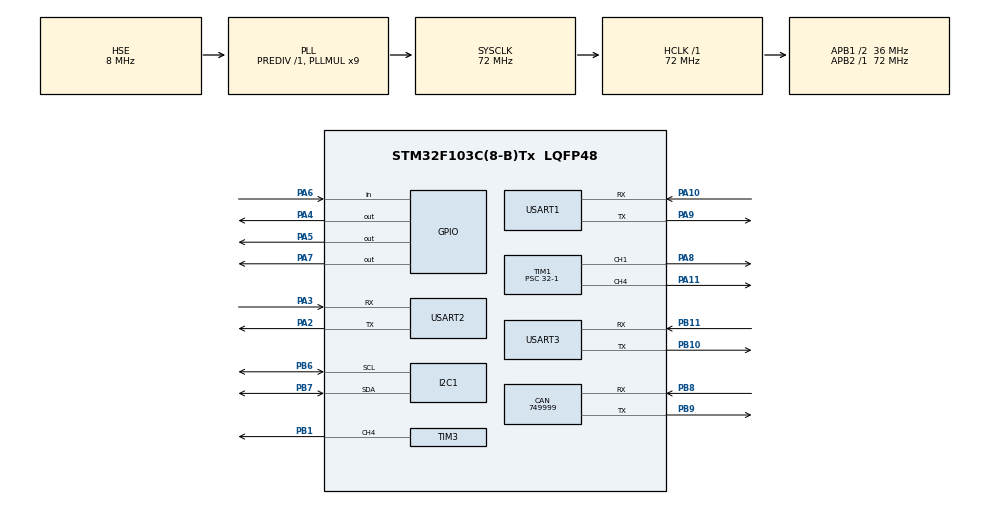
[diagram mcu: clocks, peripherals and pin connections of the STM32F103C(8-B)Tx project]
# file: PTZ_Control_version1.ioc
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CAN.BS1=CAN_BS1_1TQ
CAN.BS2=CAN_BS2_1TQ
CAN.CalculateBaudRate=749999
CAN.CalculateTimeBit=1333
CAN.CalculateTimeQuantum=444.44444444444446
Dma.Request0=USART1_RX
Dma.Request1=USART1_TX
Dma.Request2=USART2_RX
Dma.Request3=USART2_TX
Dma.USART1_RX.0.Direction=DMA_PERIPH_TO_MEMORY
Dma.USART1_RX.0.Instance=DMA1_Channel5
Dma.USART1_RX.0.MemDataAlignment=DMA_MDATAALIGN_BYTE
Dma.USART1_RX.0.MemInc=DMA_MINC_ENABLE
Dma.USART1_RX.0.Mode=DMA_NORMAL
Dma.USART1_RX.0.PeriphDataAlignment=DMA_PDATAALIGN_BYTE
Dma.USART1_RX.0.PeriphInc=DMA_PINC_DISABLE
Dma.USART1_RX.0.Priority=DMA_PRIORITY_LOW
Dma.USART1_TX.1.Direction=DMA_MEMORY_TO_PERIPH
Dma.USART1_TX.1.Instance=DMA1_Channel4
Dma.USART1_TX.1.MemDataAlignment=DMA_MDATAALIGN_BYTE
Dma.USART1_TX.1.MemInc=DMA_MINC_ENABLE
Dma.USART1_TX.1.Mode=DMA_NORMAL
Dma.USART1_TX.1.PeriphDataAlignment=DMA_PDATAALIGN_BYTE
Dma.USART1_TX.1.PeriphInc=DMA_PINC_DISABLE
Dma.USART1_TX.1.Priority=DMA_PRIORITY_LOW
Dma.USART2_RX.2.Direction=DMA_PERIPH_TO_MEMORY
Dma.USART2_RX.2.Instance=DMA1_Channel6
Dma.USART2_RX.2.MemDataAlignment=DMA_MDATAALIGN_BYTE
Dma.USART2_RX.2.MemInc=DMA_MINC_ENABLE
Dma.USART2_RX.2.Mode=DMA_NORMAL
Dma.USART2_RX.2.PeriphDataAlignment=DMA_PDATAALIGN_BYTE
Dma.USART2_RX.2.PeriphInc=DMA_PINC_DISABLE
Dma.USART2_RX.2.Priority=DMA_PRIORITY_LOW
Dma.USART2_TX.3.Direction=DMA_MEMORY_TO_PERIPH
Dma.USART2_TX.3.Instance=DMA1_Channel7
Dma.USART2_TX.3.MemDataAlignment=DMA_MDATAALIGN_BYTE
Dma.USART2_TX.3.MemInc=DMA_MINC_ENABLE
Dma.USART2_TX.3.Mode=DMA_NORMAL
Dma.USART2_TX.3.PeriphDataAlignment=DMA_PDATAALIGN_BYTE
Dma.USART2_TX.3.PeriphInc=DMA_PINC_DISABLE
Dma.USART2_TX.3.Priority=DMA_PRIORITY_LOW
Mcu.Family=STM32F1
Mcu.Name=STM32F103C(8-B)Tx
Mcu.Package=LQFP48
NVIC.DMA1_Channel4_IRQn=true\:0\:0\:false\:false\:true\:false\:true\:true
NVIC.DMA1_Channel5_IRQn=true\:0\:0\:false\:false\:true\:false\:true\:true
NVIC.DMA1_Channel6_IRQn=true\:0\:0\:false\:false\:true\:false\:true\:true
NVIC.DMA1_Channel7_IRQn=true\:0\:0\:false\:false\:true\:false\:true\:true
NVIC.I2C1_ER_IRQn=true\:0\:0\:false\:false\:true\:true\:true\:true
NVIC.I2C1_EV_IRQn=true\:0\:0\:false\:false\:true\:true\:true\:true
NVIC.PriorityGroup=NVIC_PRIORITYGROUP_4
NVIC.USART1_IRQn=true\:0\:0\:false\:false\:true\:true\:true\:true
PA10.Mode=Asynchronous
PA10.Signal=USART1_RX
PA11.Signal=S_TIM1_CH4
PA13.Signal=SYS_JTMS-SWDIO
PA14.Signal=SYS_JTCK-SWCLK
PA2.Mode=Asynchronous
PA2.Signal=USART2_TX
PA3.Mode=Asynchronous
PA3.Signal=USART2_RX
PA4.Signal=GPIO_Output
PA5.Signal=GPIO_Output
PA6.Signal=GPIO_Input
PA7.Signal=GPIO_Output
PA8.Signal=S_TIM1_CH1
PA9.Mode=Asynchronous
PA9.Signal=USART1_TX
PB1.Signal=S_TIM3_CH4
PB10.Mode=Asynchronous
PB10.Signal=USART3_TX
PB11.Mode=Asynchronous
PB11.Signal=USART3_RX
PB6.Mode=I2C
PB6.Signal=I2C1_SCL
PB7.Mode=I2C
PB7.Signal=I2C1_SDA
PB8.Mode=CAN_Activate
PB8.Signal=CAN_RX
PB9.Mode=CAN_Activate
PB9.Signal=CAN_TX
PD0-OSC_IN.Mode=HSE-External-Oscillator
PD0-OSC_IN.Signal=RCC_OSC_IN
PD1-OSC_OUT.Mode=HSE-External-Oscillator
PD1-OSC_OUT.Signal=RCC_OSC_OUT
ProjectManager.HeapSize=0x200
ProjectManager.StackSize=0x400
ProjectManager.TargetToolchain=MDK-ARM V5.32
RCC.AHBFreq_Value=72000000
RCC.APB1CLKDivider=RCC_HCLK_DIV2
RCC.APB1Freq_Value=36000000
RCC.APB1TimFreq_Value=72000000
RCC.APB2Freq_Value=72000000
RCC.APB2TimFreq_Value=72000000
RCC.HCLKFreq_Value=72000000
RCC.PLLMUL=RCC_PLL_MUL9
RCC.PLLSourceVirtual=RCC_PLLSOURCE_HSE
RCC.SYSCLKFreq_VALUE=72000000
RCC.SYSCLKSource=RCC_SYSCLKSOURCE_PLLCLK
RCC.USBFreq_Value=72000000
SH.S_TIM1_CH1.0=TIM1_CH1,PWM Generation1 CH1
SH.S_TIM1_CH4.0=TIM1_CH4,PWM Generation4 CH4
SH.S_TIM3_CH4.0=TIM3_CH4,PWM Generation4 CH4
TIM1.AutoReloadPreload=TIM_AUTORELOAD_PRELOAD_ENABLE
TIM1.Channel-PWM\ Generation1\ CH1=TIM_CHANNEL_1
TIM1.Channel-PWM\ Generation4\ CH4=TIM_CHANNEL_4
TIM1.Period=20000-1
TIM1.Prescaler=32-1
TIM3.AutoReloadPreload=TIM_AUTORELOAD_PRELOAD_DISABLE
TIM3.Channel-PWM\ Generation4\ CH4=TIM_CHANNEL_4
TIM3.Period=500-1
TIM3.Prescaler=72-1
USART1.VirtualMode=VM_ASYNC
USART2.VirtualMode=VM_ASYNC
USART3.VirtualMode=VM_ASYNC
VP_SYS_VS_ND.Mode=No_Debug
VP_TIM1_VS_ClockSourceINT.Mode=Internal
VP_TIM3_VS_ClockSourceINT.Mode=Internal
board=custom

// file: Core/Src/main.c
/* USER CODE BEGIN Header */
/**
  ******************************************************************************
  * @file           : main.c
  * @brief          : Main program body
  ******************************************************************************
  * @attention
  *
  * Copyright (c) 2025 STMicroelectronics.
  * All rights reserved.
  *
  * This software is licensed under terms that can be found in the LICENSE file
  * in the root directory of this software component.
  * If no LICENSE file comes with this software, it is provided AS-IS.
  *
  ******************************************************************************
  */
/* USER CODE END Header */
#include "main.h"
#include "can.h"
#include "dma.h"
#include "i2c.h"
#include "tim.h"
#include "usart.h"
#include "gpio.h"

/* USER CODE BEGIN Includes */
#include "Control.h"
#include "Servo.h"
#include "stdio.h"
#include "string.h"
#include <stdarg.h>
#include "data_processing.h"
#include "pca9685.h"
#include "PS2.h"
#include "beep.h"
#include "Bus_Servo.h"
/* USER CODE END Includes */

/* USER CODE BEGIN PV */
float x=0;
float y=0;
float w=0;
float h=0;

uint8_t usart1_rx_len = 0;
uint8_t usart1_rx_state = USART1_RX_STATE_START;
uint8_t tmp_usart1_rx_buffer[USART1_MAX_RECV_LEN] = {0};
uint8_t g_usart1_rx_buff[USART1_MAX_RECV_LEN] = {0};

uint8_t usart2_rx_len = 0;
uint8_t usart2_rx_state = USART2_RX_STATE_START;
uint8_t tmp_usart2_rx_buffer[USART2_MAX_RECV_LEN] = {0};
uint8_t g_usart2_rx_buff[USART2_MAX_RECV_LEN] = {0};

ParsedFloats result;

//JOYSTICK_TypeDef ps2;
//extern uint8_t PS2_data[9];
/* USER CODE END PV */

void SystemClock_Config(void);

/* USER CODE BEGIN 0 */
uint8_t BLE_DIRECT_Printf(const char *format, ...)
{
  char *buf; //= mymalloc(SRAMIN, 1024);
  va_list args;
  va_start(args, format);
  uint16_t len = vsprintf((char *)buf, (char *)format, args);
  va_end(args);

//#if Use_SECRET > 0
//  // 加密算法1
//  char *encryptedText = mymalloc(SRAMIN, len);
//  len = encrypt(buf, secret_key, encryptedText);
//  myfree(SRAMIN, buf);
//  // 加密算法2
//  char *encoded_data = mymalloc(SRAMIN, 4 * ((len + 2) / 3) + 1);
//  len = base64_encode((const uint8_t *)encryptedText, len, encoded_data);
//  myfree(SRAMIN, encryptedText);
//  HAL_UART_Transmit_DMA(&huart1, (u8 *)encoded_data, len); // 串口打印函数，可以更换为中断发送或者DMA发送
//  myfree(0, encoded_data);
//#else
  HAL_UART_Transmit_DMA(&huart1, (uint8_t *)buf, len); // 串口打印函数，可以更换为中断发送或者DMA发送
  //myfree(0, buf);
//#endif
  return 0;
}
/* USER CODE END 0 */

int main(void)
{

  /* MCU Configuration--------------------------------------------------------*/

  /* Reset of all peripherals, Initializes the Flash interface and the Systick. */
  HAL_Init();

  /* Configure the system clock */
  SystemClock_Config();

  /* Initialize all configured peripherals */
  MX_GPIO_Init();
  MX_DMA_Init();
  MX_CAN_Init();
  MX_I2C1_Init();
  MX_TIM1_Init();
  MX_USART1_UART_Init();
  MX_USART2_UART_Init();
  MX_USART3_UART_Init();
  MX_TIM3_Init();
  /* USER CODE BEGIN 2 */
	HAL_TIM_PWM_Start(&htim1,TIM_CHANNEL_1);
	HAL_TIM_PWM_Start(&htim1,TIM_CHANNEL_4);

	//PTZ_Init();

	int16_t angle=135;
	int16_t angle_base=135,angle_up=135;
	 PCA_Servo_Init(50.0f, angle);
//	 PS2_Init();
	  PS2_SetInit();
	 //蜂鸣器启动音乐
//	 Beep_Init();
//	 Beep_Work();
  /* USER CODE END 2 */

  /* Infinite loop */
  while (1)
  {

    /* USER CODE BEGIN 3 */
      PS2_ReadData();          //获取数据

			HAL_Delay(1);
	  	char buffer[50];
			int len = snprintf(buffer, sizeof(buffer),"%5d %5d %5d %5d %5d\r\n",PS2_AnologData(PSS_LX),PS2_AnologData(PSS_LY),
	      	                          PS2_AnologData(PSS_RX),PS2_AnologData(PSS_RY),angle);

//		HAL_UART_Transmit(&huart1, (uint8_t *)buffer, len, 100);
			HAL_UART_Transmit_DMA(&huart1, (uint8_t *)buffer, sizeof(buffer));
			angle_base+=map(PS2_AnologData(PSS_LX),0, 255, -30, 30);
			angle_up+=map(PS2_AnologData(PSS_LY),0, 254, -30, 30);
			angle_limit(&angle_base);
			angle_limit(&angle_up);
			PCA_Servo(7,angle_base);
			PCA_Servo(6,angle_up);
//		HAL_UART_Transmit_DMA(&huart1, (uint8_t *)buffer, sizeof(buffer)); // 串口打印函数，可以更换为中断发送或者DMA发送
      PS2_ClearData();      //清除数据
    HAL_Delay(100);
  }
  /* USER CODE END 3 */
}

void SystemClock_Config(void)
{
  RCC_OscInitTypeDef RCC_OscInitStruct = {0};
  RCC_ClkInitTypeDef RCC_ClkInitStruct = {0};

  /** Initializes the RCC Oscillators according to the specified parameters
  * in the RCC_OscInitTypeDef structure.
  */
  RCC_OscInitStruct.OscillatorType = RCC_OSCILLATORTYPE_HSE;
  RCC_OscInitStruct.HSEState = RCC_HSE_ON;
  RCC_OscInitStruct.HSEPredivValue = RCC_HSE_PREDIV_DIV1;
  RCC_OscInitStruct.HSIState = RCC_HSI_ON;
  RCC_OscInitStruct.PLL.PLLState = RCC_PLL_ON;
  RCC_OscInitStruct.PLL.PLLSource = RCC_PLLSOURCE_HSE;
  RCC_OscInitStruct.PLL.PLLMUL = RCC_PLL_MUL9;
  if (HAL_RCC_OscConfig(&RCC_OscInitStruct) != HAL_OK)
  {
    Error_Handler();
  }

  /** Initializes the CPU, AHB and APB buses clocks
  */
  RCC_ClkInitStruct.ClockType = RCC_CLOCKTYPE_HCLK|RCC_CLOCKTYPE_SYSCLK
                              |RCC_CLOCKTYPE_PCLK1|RCC_CLOCKTYPE_PCLK2;
  RCC_ClkInitStruct.SYSCLKSource = RCC_SYSCLKSOURCE_PLLCLK;
  RCC_ClkInitStruct.AHBCLKDivider = RCC_SYSCLK_DIV1;
  RCC_ClkInitStruct.APB1CLKDivider = RCC_HCLK_DIV2;
  RCC_ClkInitStruct.APB2CLKDivider = RCC_HCLK_DIV1;

  if (HAL_RCC_ClockConfig(&RCC_ClkInitStruct, FLASH_LATENCY_2) != HAL_OK)
  {
    Error_Handler();
  }
}

void Error_Handler(void)
{
  __disable_irq();
  while (1)
  {
  }
}
